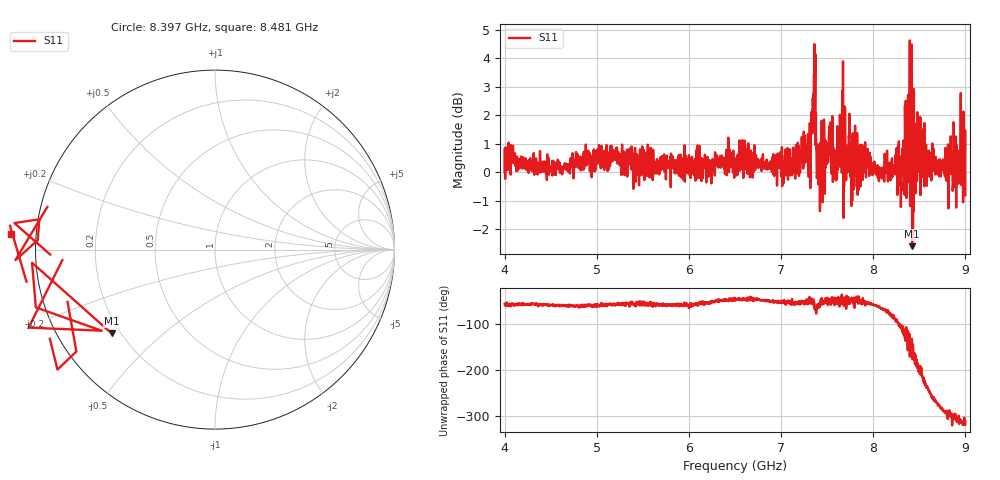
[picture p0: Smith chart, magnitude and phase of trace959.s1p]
! Created with skrf 1.8.0 (http://scikit-rf.org).
# Hz S RI R 50.0
!freq ReS11 ImS11
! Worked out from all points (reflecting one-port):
!   1601 points, 4 GHz to 9 GHz, reference 50 ohm
!   lowest |S11| = -2.6 dB at 8.422 GHz (marker M1), VSWR 6.74, Z = 8.33 - j17.3 ohm
!   phase of S11 starts at -56 deg and turns -254 deg over the sweep
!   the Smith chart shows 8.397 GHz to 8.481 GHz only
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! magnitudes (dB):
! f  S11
! 4 GHz  0.0
! 4.094 GHz  0.3
! 4.625 GHz  -0.1
! 5.25 GHz  0.2
! 5.875 GHz  0.3
! 6.5 GHz  0.4
! 7.125 GHz  0.4
! 7.294 GHz  0.1
! 7.319 GHz  -0.6
! 7.347 GHz  2.3
! 7.369 GHz  3.2
! 7.4 GHz  0.5
! 7.412 GHz  0.1
! 7.534 GHz  0.8
! 7.6 GHz  -0.3
! 7.647 GHz  0.7
! 7.7 GHz  0.4
! 7.75 GHz  0.7
! 8.316 GHz  -0.1
! 8.375 GHz  1.2
! 8.422 GHz  -2.6
! 8.447 GHz  1.7
! 8.459 GHz  -0.7
! 8.519 GHz  1.2
! 8.712 GHz  0.2
! 8.903 GHz  1.0
! 8.956 GHz  0.3
! 9 GHz  -0.8
